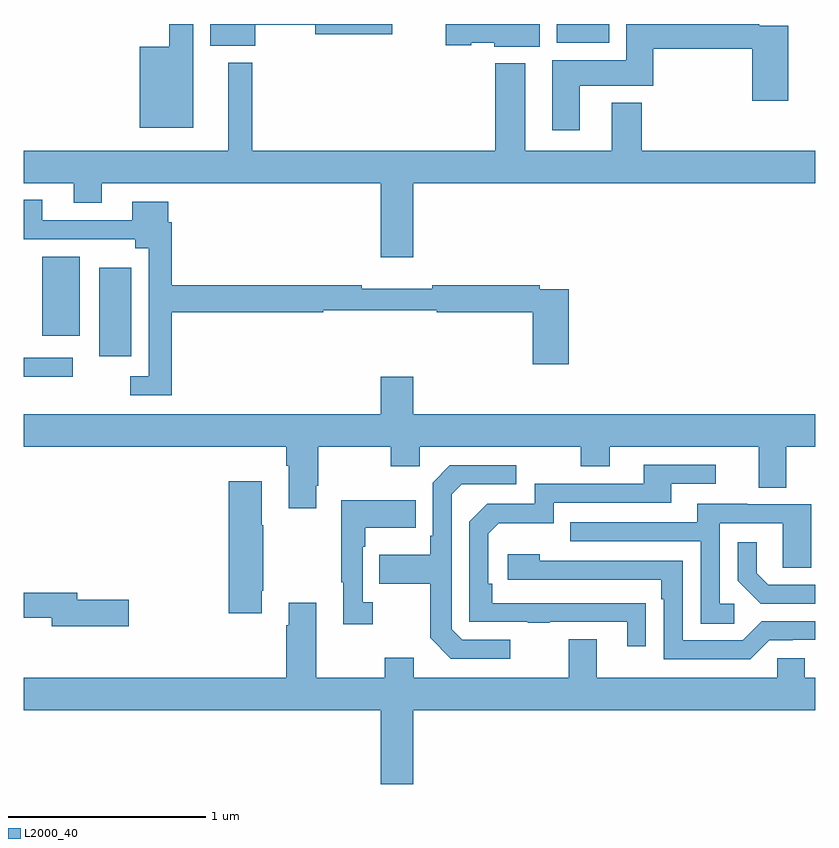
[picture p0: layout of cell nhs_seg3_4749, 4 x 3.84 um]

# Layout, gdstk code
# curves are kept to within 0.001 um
import gdstk
lib = gdstk.Library(unit=1e-6, precision=1e-09)
def R(c, l, rs):  # rectangles x0, y0, x1, y1
    for r in rs: c.add(gdstk.rectangle(r[:2], r[2:], *l))
def P(c, l, *ps):  # polygons
    for p in ps: c.add(gdstk.Polygon(p, *l))
L2000_40 = (2000, 40)

nhs_seg3_4749 = lib.new_cell('nhs_seg3_4749')
R(nhs_seg3_4749, L2000_40, [(367,686.616,367.246,686.712), (367.382,686.721,367.543,687.169), (367.094,686.825,367.282,687.223), (369.695,688.304,369.958,688.4)])
P(nhs_seg3_4749, L2000_40, [(369.607,688.4),(369.132,688.4),(369.132,688.292),(369.261,688.292),(369.261,688.304),(369.378,688.304),(369.378,688.286),(369.607,688.286)],
  [(368.17,688.396),(368.474,688.396),(368.474,688.349),(368.863,688.349),(368.863,688.4),(367.943,688.4),(367.943,688.289),(368.17,688.289)],
  [(367.855,688.4),(367.734,688.4),(367.734,688.285),(367.586,688.285),(367.586,687.875),(367.855,687.875)],
  [(369.811,688.088),(370.181,688.088),(370.181,688.276),(370.682,688.276),(370.682,688.011),(370.865,688.011),(370.865,688.392),(370.718,688.392),(370.718,688.4),(370.046,688.4),(370.046,688.216),(369.671,688.216),(369.671,687.864),(369.811,687.864)],
  [(371,687.76),(370.124,687.76),(370.124,688.003),(369.971,688.003),(369.971,687.76),(369.535,687.76),(369.535,688.201),(369.383,688.201),(369.383,687.76),(368.155,687.76),(368.155,688.204),(368.033,688.204),(368.033,687.76),(367,687.76),(367,687.596),(367.253,687.596),(367.253,687.497),(367.393,687.497),(367.393,687.596),(368.804,687.596),(368.804,687.222),(368.968,687.222),(368.968,687.596),(371,687.596)],
  [(367.748,686.944),(368.513,686.944),(368.513,686.952),(369.088,686.952),(369.088,686.944),(369.572,686.944),(369.572,686.679),(369.755,686.679),(369.755,687.06),(369.608,687.06),(369.608,687.08),(369.064,687.08),(369.064,687.061),(368.708,687.061),(368.708,687.08),(367.748,687.08),(367.748,687.398),(367.729,687.398),(367.729,687.502),(367.547,687.502),(367.547,687.408),(367.093,687.408),(367.093,687.511),(367,687.511),(367,687.312),(367.562,687.312),(367.562,687.266),(367.632,687.266),(367.632,686.619),(367.539,686.619),(367.539,686.523),(367.748,686.523)],
  [(368.479,686.065),(368.487,686.065),(368.487,686.264),(368.854,686.264),(368.854,686.165),(369,686.165),(369,686.264),(369.814,686.264),(369.814,686.165),(369.961,686.165),(369.961,686.264),(370.715,686.264),(370.715,686.056),(370.855,686.056),(370.855,686.264),(371,686.264),(371,686.428),(368.968,686.428),(368.968,686.617),(368.804,686.617),(368.804,686.428),(367,686.428),(367,686.264),(368.327,686.264),(368.327,686.168),(368.339,686.168),(368.339,685.953),(368.479,685.953)],
  [(370.145,685.472),(369.368,685.473),(369.368,685.57),(369.348,685.57),(369.348,685.824),(369.401,685.877),(369.678,685.877),(369.678,685.98),(370.273,685.98),(370.273,686.076),(370.498,686.076),(370.498,686.172),(370.133,686.172),(370.133,686.076),(369.582,686.076),(369.582,685.974),(369.342,685.974),(369.252,685.884),(369.252,685.377),(369.547,685.377),(369.547,685.372),(369.659,685.372),(369.659,685.377),(370.049,685.377),(370.049,685.254),(370.145,685.254)],
  [(369.46,685.287),(369.216,685.287),(369.162,685.341),(369.162,686.022),(369.213,686.073),(369.49,686.073),(369.49,686.169),(369.153,686.169),(369.066,686.082),(369.066,685.813),(369.054,685.813),(369.054,685.717),(368.797,685.717),(368.797,685.57),(369.054,685.57),(369.054,685.297),(369.159,685.191),(369.46,685.191)],
  [(368.203,685.534),(368.211,685.534),(368.211,685.865),(368.203,685.865),(368.203,686.089),(368.036,686.089),(368.036,685.422),(368.203,685.422)],
  [(368.764,685.478),(368.712,685.478),(368.712,685.757),(368.725,685.757),(368.725,685.853),(368.981,685.853),(368.981,685.993),(368.604,685.993),(368.604,685.577),(368.615,685.577),(368.615,685.365),(368.764,685.365)],
  [(370.591,685.47),(370.518,685.47),(370.518,685.875),(370.836,685.875),(370.836,685.651),(370.981,685.651),(370.981,685.971),(370.657,685.971),(370.657,685.975),(370.403,685.975),(370.403,685.881),(369.763,685.881),(369.763,685.785),(370.422,685.785),(370.422,685.369),(370.591,685.369)],
  [(371,685.566),(370.762,685.566),(370.705,685.623),(370.705,685.78),(370.608,685.78),(370.608,685.586),(370.724,685.47),(371,685.47)],
  [(370.767,685.284),(370.886,685.284),(370.886,685.287),(371,685.287),(371,685.38),(370.731,685.38),(370.635,685.284),(370.332,685.284),(370.332,685.686),(369.608,685.686),(369.608,685.72),(369.447,685.72),(369.447,685.59),(370.223,685.59),(370.223,685.493),(370.236,685.493),(370.236,685.188),(370.671,685.188)],
  [(367.531,685.49),(367.27,685.49),(367.27,685.526),(367,685.526),(367,685.398),(367.142,685.398),(367.142,685.355),(367.531,685.355)],
  [(368.968,684.932),(371,684.932),(371,685.096),(370.947,685.096),(370.947,685.194),(370.809,685.194),(370.809,685.096),(369.895,685.096),(369.895,685.291),(369.755,685.291),(369.755,685.096),(368.971,685.096),(368.971,685.195),(368.824,685.195),(368.824,685.096),(368.479,685.096),(368.479,685.474),(368.339,685.474),(368.339,685.361),(368.327,685.361),(368.327,685.096),(367,685.096),(367,684.932),(368.804,684.932),(368.804,684.558),(368.968,684.558)])

lib.write_gds('nhs_seg3_4749.gds')
